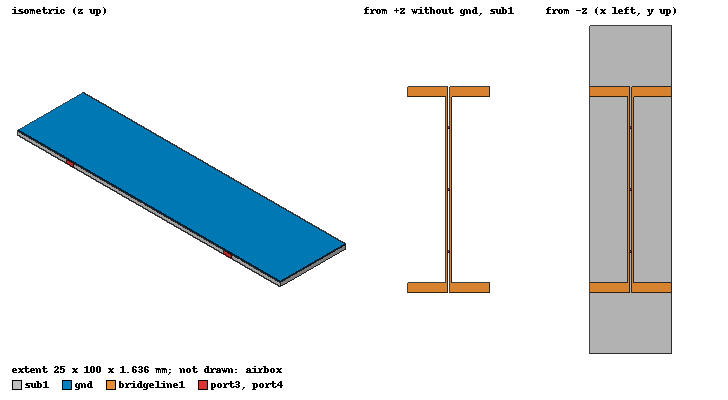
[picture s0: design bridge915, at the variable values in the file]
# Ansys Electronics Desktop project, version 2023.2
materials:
  Rogers RT/duroid 5880 (tm): permittivity=2.2 dielectric_loss_tangent=0.0009
  copper: permeability=0.999991 conductivity=58000000
  vacuum: permittivity=1
  FR4_epoxy: permittivity=4.4 dielectric_loss_tangent=0.02

design bridge915 (HFSS, HFSS Modal Network, model units mm)
options: Allow_Material_Override Save_Adaptive_support_files
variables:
  patchw = 11mm
  patch_gap = 0.3mm
  subw = patchw*3+patch_gap*4+20mm
  subh = 1.6mm
  copper = 0.018mm
  shortr = 1mm
  airh = 3mm
  gndw = 100mm
  gndew = 14mm
  feed_slotl = 22mm
  feed_slotw = 1mm
  feedlinew = 1.5mm
  feedlinel = subw/2+feedline_end+gndew/2
  feed_length = 21mm
  quarter = 35mm
  feedline_end = 5mm
  bridgex = -bridges/2-bridgew
  bridgew = 0.37mm
  bridgele = 9.5mm
  bridges = 0.85mm
  capw = 0.7mm
  bridgelinel1 = gndl/2-bridges/2
  bridgelinew = 3mm
  c1 = 3.3pF
  gndl = 25mm
  padw = 0.1mm
  bridgeline1 = 0
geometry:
  sub1 [FR4_epoxy] = box(corner=(-gndl/2, -gndw/2, -subh-airh-copper), size=(gndl, gndw, -subh))
  gnd [copper] = box(corner=(-gndl/2, -gndw/2, -subh-airh), size=(gndl, gndw, -copper))
  airbox [vacuum] = box(corner=(-subw/2-quarter, -subw/2-quarter, -airh-quarter), size=(subw+quarter*2, subw+quarter*2, subh*2+airh+quarter*2))
  bridge2l = box(corner=(bridgex, 0, -subh*2-airh-copper), size=(bridgew, bridgele*2, -copper))
  bridge2ll = box(corner=(bridgex+bridgew+bridges, 0, -subh*2-airh-copper), size=(bridgew, bridgele*2, -copper))
  bridge2l1 = box(corner=(bridgex, 0, -subh*2-airh-copper), size=(bridgew, -bridgele*2, -copper))
  bridge2ll1 = box(corner=(bridgex+bridgew+bridges, 0, -subh*2-airh-copper), size=(bridgew, -bridgele*2, -copper))
  bridge1l = box(corner=(bridgex, bridgele*2, -subh*2-airh-copper), size=(bridgew, bridgele, -copper))
  bridge1ll = box(corner=(bridgex+bridgew+bridges, bridgele*2, -subh*2-airh-copper), size=(bridgew, bridgele, -copper))
  bridge1l1 = box(corner=(bridgex, -bridgele*2, -subh*2-airh-copper), size=(bridgew, -bridgele, -copper))
  bridge1ll1 = box(corner=(bridgex+bridgew+bridges, -bridgele*2, -subh*2-airh-copper), size=(bridgew, -bridgele, -copper))
  bridgeline1 [copper] = box(corner=(bridgex+bridgew, -bridgele*3, -subh*2-airh-copper), size=(-bridgelinel1, -bridgelinew, -copper))
  bridgeline2 = box(corner=(bridgex+bridgew, bridgele*3, -subh*2-airh-copper), size=(-bridgelinel1, bridgelinew, -copper))
  bridgeline3 = box(corner=(bridgex+bridgew+bridges, -bridgele*3, -subh*2-airh-copper), size=(bridgelinel1, -bridgelinew, -copper))
  bridgeline4 = box(corner=(bridgex+bridgew+bridges, bridgele*3, -subh*2-airh-copper), size=(bridgelinel1, bridgelinew, -copper))
  port3 = rectangle(corner=(bridgex+bridgew+bridges+bridgelinel1, -bridgele*3, -subh*2-airh-copper), y_size=-bridgelinew, z_size=subh)
  port4 = rectangle(corner=(bridgex+bridgew+bridges+bridgelinel1, bridgele*3, -subh*2-airh-copper), y_size=bridgelinew, z_size=subh)
  port1 = rectangle(corner=(-bridgex-bridgew-bridges-bridgelinel1, -bridgele*3, -subh*2-airh-copper), y_size=-bridgelinew, z_size=subh)
  port2 = rectangle(corner=(-bridgex-bridgew-bridges-bridgelinel1, bridgele*3, -subh*2-airh-copper), y_size=bridgelinew, z_size=subh)
  bridgeline1.unite(bridgeline2, bridgeline3, bridgeline4)
  pad = rectangle(corner=(bridgex, -bridgele*2-capw/2, -subh*2-airh-copper*2), x_size=-padw, y_size=capw)
  pad1 = rectangle(corner=(-bridgex, -bridgele*2-capw/2, -subh*2-airh-copper*2), x_size=padw, y_size=capw)
  pad1.thicken(copper)
  pad.thicken(-copper)
  pad2 = rectangle(corner=(bridgex, bridgele*2+capw/2, -subh*2-airh-copper*2), x_size=-padw, y_size=-capw)
  pad2.thicken(copper)
  pad3 = rectangle(corner=(-bridgex, bridgele*2+capw/2, -subh*2-airh-copper*2), x_size=padw, y_size=-capw)
  pad3.thicken(-copper)
  pad4 = rectangle(corner=(bridgex, -capw/2, -subh*2-airh-copper*2), x_size=-padw, y_size=capw)
  pad4.thicken(-copper)
  pad5 = rectangle(corner=(-bridgex, -capw/2, -subh*2-airh-copper*2), x_size=padw, y_size=capw)
  pad5.thicken(copper)
  bridge1l1.unite(bridge2l1, bridge2l, bridge1l)
  bridge1ll.unite(bridge2ll, bridge2ll1, bridge1ll1)
  bridge1l1.unite(bridge1ll)
  pad.unite(pad1, pad4, pad5, pad2, pad3)
  bridge1l1.unite(pad)
  bridgeline1.unite(bridge1l1)
  cap1 = rectangle(corner=(bridgex+bridgew, -bridgele*2-capw/2, -subh*2-airh-copper*2), x_size=bridges, y_size=capw)
  cap2 = rectangle(corner=(bridgex+bridgew, bridgele*2+capw/2, -subh*2-airh-copper*2), x_size=bridges, y_size=-capw)
  cap3 = rectangle(corner=(bridgex+bridgew, -capw/2, -subh*2-airh-copper*2), x_size=bridges, y_size=capw)
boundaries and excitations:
  Rad1: Radiation Objects=airbox
  LumpRLC1: Lumped RLC Objects=cap1 CurrentLine{(-0.425, -19, -6.236) -> (0.425, -19, -6.236)} RLC_Type=Parallel Capacitance=c1
  LumpRLC2: Lumped RLC Objects=cap3 CurrentLine{(-0.425, 0, -6.236) -> (0.425, 0, -6.236)} RLC_Type=Parallel Capacitance=c1
  LumpRLC3: Lumped RLC Objects=cap2 CurrentLine{(-0.425, 19, -6.236) -> (0.425, 19, -6.236)} RLC_Type=Parallel Capacitance=c1
  1: Lumped Port Objects=port1 LumpedPortType=Modal Modes{Mode1{IntLine{(-12.5, -30, -6.218) -> (-12.5, -30, -4.618)} CharImp=Zpi RenormImp=50ohm}} Impedance=50ohm
  2: Lumped Port Objects=port2 LumpedPortType=Modal Modes{Mode1{IntLine{(-12.5, 30, -6.218) -> (-12.5, 30, -4.618)} CharImp=Zpi RenormImp=50ohm}} Impedance=50ohm
  3: Lumped Port Objects=port3 LumpedPortType=Modal Modes{Mode1{IntLine{(12.5, -30, -6.218) -> (12.5, -30, -4.618)} CharImp=Zpi RenormImp=50ohm}} Impedance=50ohm
  4: Lumped Port Objects=port4 LumpedPortType=Modal Modes{Mode1{IntLine{(12.5, 30, -6.218) -> (12.5, 30, -4.618)} CharImp=Zpi RenormImp=50ohm}} Impedance=50ohm
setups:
  Setup1: HfssDriven Frequency=0.925GHz MaxDeltaS=0.01 MaximumPasses=20 MinimumPasses=1 MinimumConvergedPasses=1 PercentRefinement=30 BasisOrder=1 PortAccuracy=2 DrivenSolverType="Direct Solver"
    sweep Sweep: 0.7GHz to 1.1GHz, 201 points; Type=Interpolating InterpTolerance=0.5 InterpMaxSolns=250 InterpUsePortImped=false PassivityErrorTolerance=0.0001
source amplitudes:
  1:1: 1W 0deg
  2:1, 3:1, 4:1: 0W 0deg
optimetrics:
  ParametricSetup1: Parametric Sim._Setups=[Setup1]
    sweep c1: LIN 2.7pF 3.9pF 0.3pF
  ParametricSetup2: Parametric Sim._Setups=[Setup1]
    sweep c1: 3.3pF
    sweep bridgele: 9.5mm
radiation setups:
  Infinite Sphere1: Infinite Sphere Theta=-180deg..180deg step 2deg Phi=0deg..360deg step 5deg
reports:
  S Parameter Plot: dB(S(1,1)), dB(S(2,1)), dB(S(3,1)), dB(S(4,1)) vs Freq on Setup1 : Sweep; markers MX1 at x=9.15e+08
  Phase431: ang_deg(S(3,1)), ang_deg(S(4,1)) vs Freq on Setup1 : Sweep; markers MX1 at x=0
  Phase432: ang_deg(S(4,2)), ang_deg(S(3,2)) vs Freq on Setup1 : Sweep
